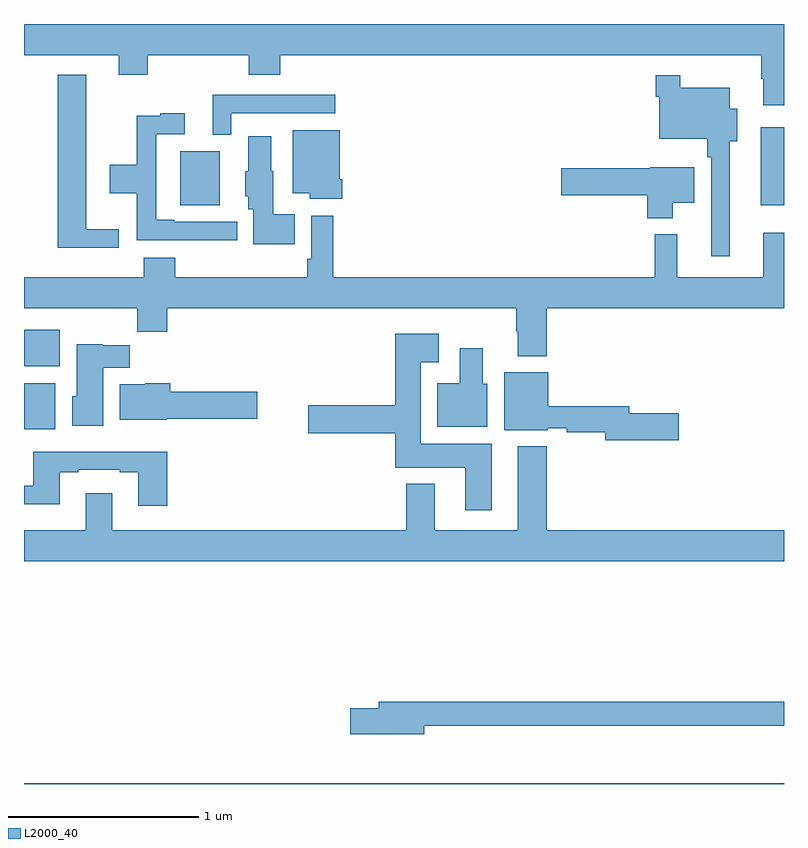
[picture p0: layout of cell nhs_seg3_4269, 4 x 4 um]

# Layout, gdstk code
import gdstk
lib = gdstk.Library(unit=1e-6, precision=1e-09)
def R(c, l, rs):  # rectangles x0, y0, x1, y1
    for r in rs: c.add(gdstk.rectangle(r[:2], r[2:], *l))
def P(c, l, *ps):  # polygons
    for p in ps: c.add(gdstk.Polygon(p, *l))
L2000_40 = (2000, 40)

nhs_seg3_4269 = lib.new_cell('nhs_seg3_4269')
R(nhs_seg3_4269, L2000_40, [(337,710.4,341,710.404), (337,712.268,337.165,712.51), (337,712.598,337.189,712.792), (337.823,713.447,338.029,713.731), (340.877,713.447,341,713.857)])
P(nhs_seg3_4269, L2000_40, [(341,714.4),(337,714.4),(337,714.236),(337.499,714.236),(337.499,714.134),(337.652,714.134),(337.652,714.236),(338.183,714.236),(338.183,714.134),(338.348,714.134),(338.348,714.236),(340.881,714.236),(340.881,714.113),(340.892,714.113),(340.892,713.973),(341,713.973)],
  [(337.498,713.321),(337.327,713.321),(337.327,714.133),(337.178,714.133),(337.178,713.222),(337.498,713.222)],
  [(340.714,713.783),(340.753,713.783),(340.753,713.953),(340.714,713.953),(340.714,714.064),(340.453,714.064),(340.453,714.13),(340.324,714.13),(340.324,714.017),(340.344,714.017),(340.344,713.795),(340.597,713.795),(340.597,713.699),(340.617,713.699),(340.617,713.178),(340.714,713.178)],
  [(338.091,713.931),(338.638,713.931),(338.638,714.027),(337.994,714.027),(337.994,713.816),(338.091,713.816)],
  [(338.122,713.358),(337.792,713.358),(337.792,713.371),(337.695,713.371),(337.695,713.82),(337.846,713.82),(337.846,713.929),(337.718,713.929),(337.718,713.918),(337.594,713.918),(337.594,713.658),(337.452,713.658),(337.452,713.51),(337.594,713.51),(337.594,713.262),(337.879,713.262),(337.879,713.261),(338.122,713.261)],
  [(338.675,713.584),(338.662,713.584),(338.662,713.842),(338.414,713.842),(338.414,713.51),(338.504,713.51),(338.504,713.48),(338.675,713.48)],
  [(338.426,713.398),(338.311,713.398),(338.311,713.625),(338.302,713.625),(338.302,713.809),(338.18,713.809),(338.18,713.625),(338.165,713.625),(338.165,713.493),(338.18,713.493),(338.18,713.424),(338.207,713.424),(338.207,713.24),(338.426,713.24)],
  [(340.414,713.459),(340.528,713.459),(340.528,713.647),(340.296,713.647),(340.296,713.642),(339.828,713.642),(339.828,713.5),(340.28,713.5),(340.28,713.378),(340.414,713.378)],
  [(339.752,712.904),(341,712.904),(341,713.302),(340.892,713.302),(340.892,713.068),(340.439,713.068),(340.439,713.293),(340.321,713.293),(340.321,713.068),(338.627,713.068),(338.627,713.392),(338.511,713.392),(338.511,713.164),(338.491,713.164),(338.491,713.068),(337.796,713.068),(337.796,713.17),(337.631,713.17),(337.631,713.068),(337,713.068),(337,712.904),(337.597,712.904),(337.597,712.78),(337.754,712.78),(337.754,712.904),(339.592,712.904),(339.592,712.784),(339.599,712.784),(339.599,712.652),(339.752,712.652)],
  [(339.463,712.192),(339.088,712.192),(339.088,712.619),(339.184,712.619),(339.184,712.771),(338.954,712.771),(338.954,712.394),(338.496,712.394),(338.496,712.247),(338.954,712.247),(338.954,712.064),(339.323,712.064),(339.323,711.84),(339.463,711.84)],
  [(337.417,712.592),(337.556,712.592),(337.556,712.71),(337.413,712.71),(337.413,712.714),(337.277,712.714),(337.277,712.44),(337.253,712.44),(337.253,712.286),(337.417,712.286)],
  [(339.439,712.506),(339.415,712.506),(339.415,712.693),(339.293,712.693),(339.293,712.51),(339.176,712.51),(339.176,712.28),(339.439,712.28)],
  [(340.447,712.352),(340.186,712.352),(340.186,712.388),(339.76,712.388),(339.76,712.567),(339.527,712.567),(339.527,712.262),(339.756,712.262),(339.756,712.272),(339.856,712.272),(339.856,712.252),(340.058,712.252),(340.058,712.21),(340.447,712.21)],
  [(337.752,712.322),(338.227,712.322),(338.227,712.464),(337.769,712.464),(337.769,712.51),(337.638,712.51),(337.638,712.504),(337.505,712.504),(337.505,712.316),(337.752,712.316)],
  [(341,711.736),(339.752,711.736),(339.752,712.177),(339.599,712.177),(339.599,711.736),(339.163,711.736),(339.163,711.979),(339.011,711.979),(339.011,711.736),(337.465,711.736),(337.465,711.931),(337.325,711.931),(337.325,711.736),(337,711.736),(337,711.572),(341,711.572)],
  [(337.754,712.15),(337.049,712.15),(337.049,711.969),(337,711.969),(337,711.872),(337.189,711.872),(337.189,712.041),(337.285,712.041),(337.285,712.053),(337.505,712.053),(337.505,712.041),(337.601,712.041),(337.601,711.864),(337.754,711.864)],
  [(339.106,710.706),(341,710.706),(341,710.834),(338.867,710.834),(338.867,710.798),(338.718,710.798),(338.718,710.663),(339.106,710.663)])

lib.write_gds('nhs_seg3_4269.gds')
